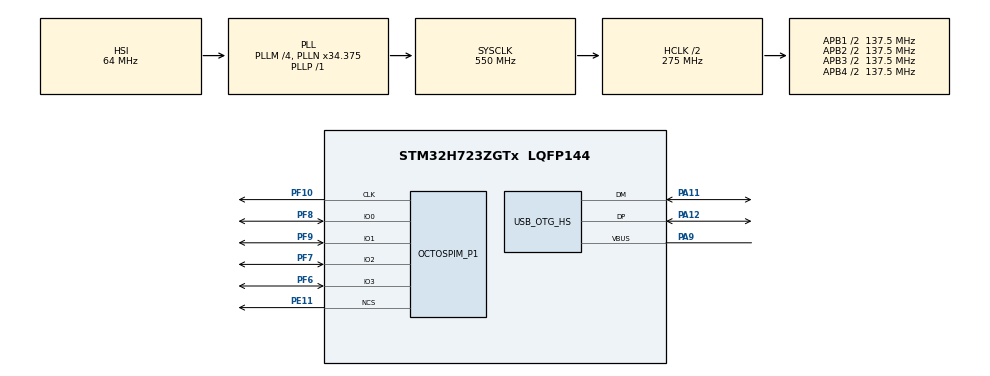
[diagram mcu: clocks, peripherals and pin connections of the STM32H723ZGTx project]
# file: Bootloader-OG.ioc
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CORTEX_M7.default_mode_Activation=1
Mcu.Family=STM32H7
Mcu.Name=STM32H723ZGTx
Mcu.Package=LQFP144
NVIC.OTG_HS_IRQn=true\:0\:0\:false\:false\:true\:false\:true\:true
NVIC.PriorityGroup=NVIC_PRIORITYGROUP_4
OCTOSPI1.ClockPrescaler=4
OCTOSPI1.DeviceSize=21
OCTOSPI1.FifoThreshold=4
OCTOSPI1.SampleShifting=HAL_OSPI_SAMPLE_SHIFTING_HALFCYCLE
PA11.Mode=Device_Only_FS
PA11.Signal=USB_OTG_HS_DM
PA12.Mode=Device_Only_FS
PA12.Signal=USB_OTG_HS_DP
PA9.Mode=Activate_VBUS_FS
PA9.Signal=USB_OTG_HS_VBUS
PE11.Mode=OCTOSPI1_Port1_NCS
PE11.Signal=OCTOSPIM_P1_NCS
PF10.Mode=O1_P1_CLK
PF10.Signal=OCTOSPIM_P1_CLK
PF6.Mode=OCTOSPI1_IOL_Port1L
PF6.Signal=OCTOSPIM_P1_IO3
PF7.Mode=OCTOSPI1_IOL_Port1L
PF7.Signal=OCTOSPIM_P1_IO2
PF8.Mode=OCTOSPI1_IOL_Port1L
PF8.Signal=OCTOSPIM_P1_IO0
PF9.Mode=OCTOSPI1_IOL_Port1L
PF9.Signal=OCTOSPIM_P1_IO1
ProjectManager.HeapSize=0x200
ProjectManager.StackSize=0x400
ProjectManager.TargetToolchain=STM32CubeIDE
RCC.ADCFreq_Value=608000000
RCC.APB1Freq_Value=137500000
RCC.APB2Freq_Value=137500000
RCC.APB3Freq_Value=137500000
RCC.APB4Freq_Value=137500000
RCC.CortexFreq_Value=550000000
RCC.D1PPRE=RCC_APB3_DIV2
RCC.D2PPRE1=RCC_APB1_DIV2
RCC.D2PPRE2=RCC_APB2_DIV2
RCC.D3PPRE=RCC_APB4_DIV2
RCC.DIVM1=4
RCC.DIVM2=1
RCC.DIVN1=34
RCC.DIVN2=19
RCC.DIVP1=1
RCC.DIVQ1=4
RCC.HCLKFreq_Value=275000000
RCC.HPRE=RCC_HCLK_DIV2
RCC.HSE_VALUE=8000000
RCC.PLLFRACN=3072
RCC.SYSCLKFreq_VALUE=550000000
RCC.SYSCLKSource=RCC_SYSCLKSOURCE_PLLCLK
RCC.USBCLockSelection=RCC_USBCLKSOURCE_HSI48
RCC.USBFreq_Value=48000000
USB_DEVICE.CLASS_NAME_HS=DFU
USB_DEVICE.USBD_DFU_APP_DEFAULT_ADD=0x08020000
USB_DEVICE.VirtualMode=Dfu
USB_DEVICE.VirtualModeHS=Dfu_HS
USB_OTG_HS.VirtualMode-Device_Only_FS=Device_Only_FS
VP_MEMORYMAP_VS_MEMORYMAP.Mode=CurAppReg
VP_OCTOSPI1_VS_quad.Mode=quad_mode
VP_USB_DEVICE_VS_USB_DEVICE_DFU_HS.Mode=DFU_HS
board=NUCLEO-H723ZG

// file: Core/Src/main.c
/* USER CODE BEGIN Header */
/**
  ******************************************************************************
  * @file           : main.c
  * @brief          : Main program body
  ******************************************************************************
  * @attention
  *
  * Copyright (c) 2025 STMicroelectronics.
  * All rights reserved.
  *
  * This software is licensed under terms that can be found in the LICENSE file
  * in the root directory of this software component.
  * If no LICENSE file comes with this software, it is provided AS-IS.
  *
  ******************************************************************************
  */
/* USER CODE END Header */
#include "main.h"
#include "memorymap.h"
#include "octospi.h"
#include "usb_device.h"
#include "gpio.h"

/* USER CODE BEGIN PTD */
typedef void (*pFunction)(void);
/* USER CODE END PTD */

/* USER CODE BEGIN PD */
#define DFU_BOOT_FLAG 	0xDEADBEEF
#define SRAM_START_ADDR 0x24000000
#define MASK_VALUE 		0x2FF80000

/* USER CODE END PD */

/* USER CODE BEGIN PV */
extern int _bflag;
uint32_t *dfu_boot_flag;
pFunction JumpToApplication;
uint32_t JumpAddress;
/* USER CODE END PV */

void SystemClock_Config(void);
static void MPU_Config(void);

int main(void)
{

  /* USER CODE BEGIN 1 */
	dfu_boot_flag = (uint32_t*) (&_bflag); // set in linker script

	if (*dfu_boot_flag != DFU_BOOT_FLAG) {

		/* Test if user code is programmed starting from address 0x08008000 */
		if (((*(__IO uint32_t*) USBD_DFU_APP_DEFAULT_ADD) & MASK_VALUE) == SRAM_START_ADDR) {

			/* Jump to user application */
			JumpAddress = *(__IO uint32_t*) (USBD_DFU_APP_DEFAULT_ADD + 4);
			JumpToApplication = (pFunction) JumpAddress;

			/* Initialize user application's Stack Pointer */
			__set_MSP(*(__IO uint32_t*) USBD_DFU_APP_DEFAULT_ADD);
			JumpToApplication();
		}

	}

	*dfu_boot_flag = 0; // So next boot won't be affected
  /* USER CODE END 1 */

  /* MPU Configuration--------------------------------------------------------*/
  MPU_Config();

  /* MCU Configuration--------------------------------------------------------*/

  /* Reset of all peripherals, Initializes the Flash interface and the Systick. */
  HAL_Init();

  /* Configure the system clock */
  SystemClock_Config();

  /* Initialize all configured peripherals */
  MX_GPIO_Init();
  MX_USB_DEVICE_Init();
  MX_OCTOSPI1_Init();

  /* Infinite loop */
  while (1)
  {

  }
}

void SystemClock_Config(void)
{
  RCC_OscInitTypeDef RCC_OscInitStruct = {0};
  RCC_ClkInitTypeDef RCC_ClkInitStruct = {0};

  /** Supply configuration update enable
  */
  HAL_PWREx_ConfigSupply(PWR_LDO_SUPPLY);

  /** Configure the main internal regulator output voltage
  */
  __HAL_PWR_VOLTAGESCALING_CONFIG(PWR_REGULATOR_VOLTAGE_SCALE0);

  while(!__HAL_PWR_GET_FLAG(PWR_FLAG_VOSRDY)) {}

  /** Initializes the RCC Oscillators according to the specified parameters
  * in the RCC_OscInitTypeDef structure.
  */
  RCC_OscInitStruct.OscillatorType = RCC_OSCILLATORTYPE_HSI48|RCC_OSCILLATORTYPE_HSI;
  RCC_OscInitStruct.HSIState = RCC_HSI_DIV1;
  RCC_OscInitStruct.HSICalibrationValue = 64;
  RCC_OscInitStruct.HSI48State = RCC_HSI48_ON;
  RCC_OscInitStruct.PLL.PLLState = RCC_PLL_ON;
  RCC_OscInitStruct.PLL.PLLSource = RCC_PLLSOURCE_HSI;
  RCC_OscInitStruct.PLL.PLLM = 4;
  RCC_OscInitStruct.PLL.PLLN = 34;
  RCC_OscInitStruct.PLL.PLLP = 1;
  RCC_OscInitStruct.PLL.PLLQ = 4;
  RCC_OscInitStruct.PLL.PLLR = 2;
  RCC_OscInitStruct.PLL.PLLRGE = RCC_PLL1VCIRANGE_3;
  RCC_OscInitStruct.PLL.PLLVCOSEL = RCC_PLL1VCOWIDE;
  RCC_OscInitStruct.PLL.PLLFRACN = 3072;
  if (HAL_RCC_OscConfig(&RCC_OscInitStruct) != HAL_OK)
  {
    Error_Handler();
  }

  /** Initializes the CPU, AHB and APB buses clocks
  */
  RCC_ClkInitStruct.ClockType = RCC_CLOCKTYPE_HCLK|RCC_CLOCKTYPE_SYSCLK
                              |RCC_CLOCKTYPE_PCLK1|RCC_CLOCKTYPE_PCLK2
                              |RCC_CLOCKTYPE_D3PCLK1|RCC_CLOCKTYPE_D1PCLK1;
  RCC_ClkInitStruct.SYSCLKSource = RCC_SYSCLKSOURCE_PLLCLK;
  RCC_ClkInitStruct.SYSCLKDivider = RCC_SYSCLK_DIV1;
  RCC_ClkInitStruct.AHBCLKDivider = RCC_HCLK_DIV2;
  RCC_ClkInitStruct.APB3CLKDivider = RCC_APB3_DIV2;
  RCC_ClkInitStruct.APB1CLKDivider = RCC_APB1_DIV2;
  RCC_ClkInitStruct.APB2CLKDivider = RCC_APB2_DIV2;
  RCC_ClkInitStruct.APB4CLKDivider = RCC_APB4_DIV2;

  if (HAL_RCC_ClockConfig(&RCC_ClkInitStruct, FLASH_LATENCY_3) != HAL_OK)
  {
    Error_Handler();
  }
}

 /* MPU Configuration */

void MPU_Config(void)
{
  MPU_Region_InitTypeDef MPU_InitStruct = {0};

  /* Disables the MPU */
  HAL_MPU_Disable();

  /** Initializes and configures the Region and the memory to be protected
  */
  MPU_InitStruct.Enable = MPU_REGION_ENABLE;
  MPU_InitStruct.Number = MPU_REGION_NUMBER0;
  MPU_InitStruct.BaseAddress = 0x0;
  MPU_InitStruct.Size = MPU_REGION_SIZE_4GB;
  MPU_InitStruct.SubRegionDisable = 0x87;
  MPU_InitStruct.TypeExtField = MPU_TEX_LEVEL0;
  MPU_InitStruct.AccessPermission = MPU_REGION_NO_ACCESS;
  MPU_InitStruct.DisableExec = MPU_INSTRUCTION_ACCESS_DISABLE;
  MPU_InitStruct.IsShareable = MPU_ACCESS_SHAREABLE;
  MPU_InitStruct.IsCacheable = MPU_ACCESS_NOT_CACHEABLE;
  MPU_InitStruct.IsBufferable = MPU_ACCESS_NOT_BUFFERABLE;

  HAL_MPU_ConfigRegion(&MPU_InitStruct);
  /* Enables the MPU */
  HAL_MPU_Enable(MPU_PRIVILEGED_DEFAULT);

}

void Error_Handler(void)
{
  __disable_irq();
  while (1)
  {
  }
}
